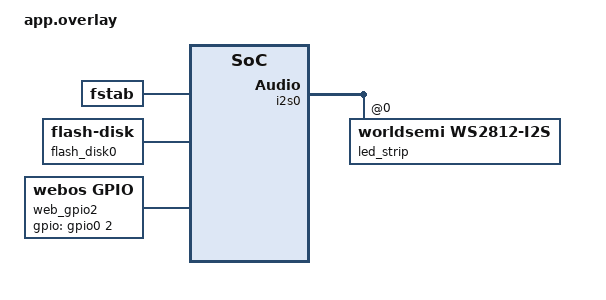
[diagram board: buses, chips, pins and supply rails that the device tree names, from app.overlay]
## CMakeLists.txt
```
#-------------------------------------------------------------------------------
# Zephyr Example Application
#
# Copyright (c) 2021 Nordic Semiconductor ASA
# SPDX-License-Identifier: Apache-2.0

cmake_minimum_required(VERSION 3.20.0)
set(WAMR_BUILD_LOAD_CUSTOM_SECTION 1)
find_package(Zephyr REQUIRED HINTS $ENV{ZEPHYR_BASE})

project(app)

target_include_directories(app PRIVATE src ../sdk/c)

target_sources(app PRIVATE
  src/main.c
  src/utils/json/json.c
  src/hal/wifi/wifi.c
  src/services/fs/fs.c
  src/services/app/app_context.c
  src/services/ota/ota.c
  src/services/http/http.c
  src/services/http/http_handlers.c
  src/services/http_client/http_client.c
  src/services/iwasm/iwasm.c
)

target_sources_ifdef(CONFIG_WEBOS_LOG_BUFFER app PRIVATE src/services/log_buffer/log_buffer.c)
target_sources_ifdef(CONFIG_WEBOS_SSH app PRIVATE src/services/ssh/ssh.c)

set(gen_dir ${ZEPHYR_BINARY_DIR}/include/generated)
generate_inc_file_for_target(
  app
  src/services/http_client/amazon_root_ca1.der
  ${gen_dir}/amazon_root_ca1.der.inc
)

zephyr_linker_sources(SECTIONS sections-rom.ld)
zephyr_linker_section(
  NAME http_resource_desc_webos_http_service
  KVMA RAM_REGION GROUP RODATA_REGION
)

# The code below locates the git index file for this repository and adds it as a dependency for
# the application VERSION file so that if the repo has a new commit added, even if no files in
# the build have changed, the application version file will be regenerated with the new git commit
find_package(Git QUIET)
if(GIT_FOUND)
  execute_process(
    COMMAND ${GIT_EXECUTABLE} rev-parse --absolute-git-dir
    WORKING_DIRECTORY .
    OUTPUT_VARIABLE application_git_dir
    OUTPUT_STRIP_TRAILING_WHITESPACE
    ERROR_STRIP_TRAILING_WHITESPACE
    ERROR_VARIABLE stderr
    RESULT_VARIABLE return_code
  )
  # If there is an error e.g. it is not a git repo, we just silently ignore it and continue
  # without a dependency, this will be the case with freestanding applications.
  if(NOT return_code)
    if(NOT "${stderr}" STREQUAL "")
      message(WARNING "Application build version git rev-parse warned: ${stderr}")
    endif()

    set_property(TARGET app_version_h PROPERTY APP_VERSION_DEPENDS ${application_git_dir}/index)
  endif()
endif()
```

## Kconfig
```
# Copyright (c) 2021 Nordic Semiconductor ASA
# SPDX-License-Identifier: Apache-2.0
#
# This file is the application Kconfig entry point. All application Kconfig
# options can be defined here or included via other application Kconfig files.
# You can browse these options using the west targets menuconfig (terminal) or
# guiconfig (GUI).

menu "Zephyr"
source "Kconfig.zephyr"
endmenu

menu "WebOS"

config WEBOS_WIFI_SSID
	string "Wi-Fi SSID"
	default ""

config WEBOS_WIFI_PSK
	string "Wi-Fi PSK"
	default ""

config WEBOS_IWASM_EXEC_STACK_SIZE
	int "WASM execution thread stack size"
	default 16384
	range 8192 32768
	help
	  Native stack reserved for running WAMR applications launched by a
	  management shell. This keeps execution off transport callback stacks.
	  Launch remains synchronous, so management-shell applications are
	  expected to terminate.

config WEBOS_IWASM_EXEC_PRIORITY
	int "WASM execution thread priority"
	default 5
	range -15 15

menu "WASM HTTP client"

config WEBOS_WASM_HTTP_MAX_URL_LEN
	int "Maximum WASM HTTP URL length"
	default 512
	range 64 2048

config WEBOS_WASM_HTTP_MAX_HEADERS_LEN
	int "Maximum WASM HTTP request headers length"
	default 1024
	range 0 4096

config WEBOS_WASM_HTTP_MAX_REQUEST_BODY
	int "Maximum WASM HTTP request body size"
	default 4096
	range 0 65536

config WEBOS_WASM_HTTP_MAX_RESPONSE_BODY
	int "Maximum WASM HTTP response body size"
	default 16384
	range 256 131072

config WEBOS_WASM_HTTP_MAX_TIMEOUT_MS
	int "Maximum WASM HTTP request timeout"
	default 30000
	range 1000 300000

endmenu

config WEBOS_LOG_BUFFER
	bool "Enable WebOS log buffer for wdb log command"
	select LOG_OUTPUT
	help
	  In-memory ring buffer that captures Zephyr log output
	  for retrieval via HTTP POST /log.  Adds a log backend
	  that mirrors every LOG_* call into a mutable buffer.

if WEBOS_LOG_BUFFER

config WEBOS_LOG_BUFFER_SIZE
	int "Ring buffer size in bytes"
	default 4096
	range 1024 65536

config WEBOS_LOG_BACKEND_BUF_SIZE
	int "Log backend output buffer size"
	default 256

config WEBOS_LOG_BACKEND_OUTPUT_DEFAULT
	int "Default log output format"
	default 0

endif

config WEBOS_SSH
	bool "Enable SSH shell server"
	default n
	select DNS_RESOLVER
	select SSH_SERVER
	select SHELL_BACKEND_SSH
	help
	  Enable the SSH shell server. Disabled by default because the SSH stack is
	  memory-heavy on the ESP32-S3 target.

config WEBOS_SSH_USERNAME
	string "SSH username"
	default "root"
	depends on WEBOS_SSH

config WEBOS_SSH_PASSWORD
	string "SSH password"
	default "1"
	depends on WEBOS_SSH

endmenu

module = APP
module-str = APP
source "subsys/logging/Kconfig.template.log_config"
```

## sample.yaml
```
# This file is provided so that the application can be compiled using Twister,
# the Zephyr testing tool. In this file, multiple combinations can be specified,
# so that you can easily test all of them locally or in CI.
sample:
  description: WebOS minimal Zephyr application
  name: webos
common:
  build_only: true
  integration_platforms:
    - esp32s3_devkitc/esp32s3/procpu
tests:
  app.default: {}
  app.debug:
    extra_overlay_confs:
      - debug.conf
```

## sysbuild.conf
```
SB_CONFIG_BOOTLOADER_MCUBOOT=y
SB_CONFIG_MCUBOOT_MODE_RAM_LOAD=y
SB_CONFIG_MCUBOOT_RAMLOAD_ALLOW_XIP=y
```

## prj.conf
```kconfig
CONFIG_PRINTK=y
CONFIG_LOG=y
CONFIG_LOG_MODE_IMMEDIATE=y
CONFIG_LOG_BACKEND_UART=y
CONFIG_LOG_BACKEND_FORMAT_TIMESTAMP=y
CONFIG_LOG_OUTPUT_FORMAT_TIME_TIMESTAMP=y
CONFIG_SERIAL=y
CONFIG_CONSOLE=y
CONFIG_UART_CONSOLE=y

# Reserve internal SRAM for USB and the WAMR execution thread; WAMR heap data uses PSRAM.
CONFIG_MAIN_STACK_SIZE=4096
CONFIG_HEAP_MEM_POOL_SIZE=65536
CONFIG_SYSTEM_WORKQUEUE_STACK_SIZE=2048
CONFIG_SHELL_STACK_SIZE=8192

# Virtual /dev filesystem for GPIO/LED device access
CONFIG_WEBOS_DEVFS=y
CONFIG_WEBOS_GPIO=y
CONFIG_LED_STRIP=y
CONFIG_WEBOS_RGBLED=y

# FatFS-backed WebOS volume on the storage flash partition.
CONFIG_DISK_ACCESS=y
CONFIG_DISK_DRIVERS=y
CONFIG_FILE_SYSTEM=y
CONFIG_FILE_SYSTEM_MAX_TYPES=3
CONFIG_FILE_SYSTEM_SHELL=y
CONFIG_FILE_SYSTEM_SHELL_MOUNT_COMMAND=y
CONFIG_FILE_SYSTEM_MKFS=y
CONFIG_FAT_FILESYSTEM_ELM=y
CONFIG_FS_FATFS_LFN=y
CONFIG_FS_FATFS_LFN_MODE_STACK=y
CONFIG_FS_FATFS_MOUNT_MKFS=y

# OTA firmware updates through POST /ota into the MCUboot secondary slot.
CONFIG_BOOTLOADER_MCUBOOT=y
CONFIG_FLASH=y
CONFIG_FLASH_MAP=y
CONFIG_IMG_MANAGER=y
CONFIG_MCUBOOT_IMG_MANAGER=y
CONFIG_STREAM_FLASH=y
CONFIG_STREAM_FLASH_ERASE=y
CONFIG_IMG_ERASE_PROGRESSIVELY=y
CONFIG_IMG_BLOCK_BUF_SIZE=4096
CONFIG_REBOOT=y

# PSRAM (ESP32-S3 N16R8: 8MB octal PSRAM)
CONFIG_ESP_SPIRAM=y
CONFIG_SPIRAM_MODE_OCT=y
CONFIG_SPIRAM_TYPE_ESPPSRAM64=y
CONFIG_ESP_SPIRAM_HEAP_SIZE=2097152

# Shell command execution for local UART shell and trusted POST /shell.
CONFIG_SHELL=y
CONFIG_SHELL_BACKEND_SERIAL=y
CONFIG_SHELL_BACKEND_SERIAL_LOG_LEVEL_NONE=y
CONFIG_SHELL_METAKEYS=y
CONFIG_SHELL_HISTORY=y
CONFIG_SETTINGS=y
CONFIG_SETTINGS_FILE=y
CONFIG_SETTINGS_FILE_PATH="/STORAGE:/settings.conf"
CONFIG_SHELL_BACKEND_DUMMY=y
CONFIG_SHELL_BACKEND_DUMMY_BUF_SIZE=1024
CONFIG_WEBOS_LOG_BUFFER=y

# Basic HTTP management server.
CONFIG_NETWORKING=y
CONFIG_NET_IPV4=y
CONFIG_NET_TCP=y
CONFIG_NET_UDP=y
CONFIG_NET_SOCKETS=y
CONFIG_ZVFS_OPEN_MAX=16
CONFIG_NET_MGMT=y
CONFIG_NET_MGMT_EVENT=y
CONFIG_NET_MGMT_EVENT_INFO=y
CONFIG_NET_MGMT_EVENT_QUEUE_SIZE=10
CONFIG_NET_MGMT_EVENT_STACK_SIZE=4096
CONFIG_NET_DHCPV4=y
CONFIG_NET_CONNECTION_MANAGER=y
CONFIG_WIFI=y
CONFIG_WIFI_NM=y
CONFIG_WIFI_USAGE_MODE_STA=y
CONFIG_NET_L2_WIFI_MGMT=y
CONFIG_NET_SHELL=y
CONFIG_NET_L2_WIFI_SHELL=y
CONFIG_NET_MGMT_EVENT_QUEUE_TIMEOUT=5000
CONFIG_NET_MGMT_EVENT_QUEUE_SIZE=16
CONFIG_HTTP_SERVER=y
# HTTP_SERVER_CAPTURE_HEADERS=y enables the server to capture custom headers.
CONFIG_HTTP_SERVER_MAX_CLIENTS=1
CONFIG_HTTP_SERVER_STACK_SIZE=8192
CONFIG_HTTP_SERVER_CLIENT_BUFFER_SIZE=4096
CONFIG_HTTP_SERVER_CAPTURE_HEADERS=y

# Outbound HTTP/HTTPS requests exposed to WASM applications.
CONFIG_HTTP_CLIENT=y
CONFIG_HTTP_CLIENT_SEND_BUF_SIZE=512
CONFIG_DNS_RESOLVER=y
CONFIG_NET_SOCKETS_SOCKOPT_TLS=y
CONFIG_NET_SOCKETS_TLS_MAX_CONTEXTS=1
CONFIG_TLS_CREDENTIALS=y
CONFIG_TLS_CREDENTIALS_BACKEND_VOLATILE=y
CONFIG_TLS_MAX_CREDENTIALS_NUMBER=2
CONFIG_MBEDTLS_SSL_PROTO_TLS1_2=y
CONFIG_MBEDTLS_SSL_SERVER_NAME_INDICATION=y
CONFIG_MBEDTLS_PSA_KEY_SLOT_COUNT=4
CONFIG_PSA_WANT_KEY_TYPE_RSA_PUBLIC_KEY=y
CONFIG_MBEDTLS_CIPHERSUITE_TLS_ECDHE_RSA_WITH_AES_128_GCM_SHA256=y
CONFIG_MBEDTLS_SSL_IN_CONTENT_LEN=4096
CONFIG_MBEDTLS_SSL_OUT_CONTENT_LEN=2048

CONFIG_NET_PKT_RX_COUNT=32
CONFIG_NET_PKT_TX_COUNT=16
CONFIG_NET_BUF_RX_COUNT=64
CONFIG_NET_BUF_TX_COUNT=64
CONFIG_NET_BUF_DATA_SIZE=256

# POSIX API for WAMR WASI sandboxed-system-primitives
CONFIG_POSIX_API=y

# WAMR / iwasm runtime for WASM payload execution
CONFIG_WAMR_MICRO_RUNTIME=y
CONFIG_WAMR_BUILD_TARGET="XTENSA"
CONFIG_WAMR_BUILD_INTERP=y
CONFIG_WAMR_BUILD_AOT=y
CONFIG_WAMR_BUILD_LIBC_BUILTIN=y
# CONFIG_WAMR_BUILD_LIBC_WASI=y
CONFIG_WAMR_BUILD_FAST_INTERP=n
# Use system allocator directly (no global pool)
CONFIG_WAMR_BUILD_GLOBAL_HEAP_POOL=n

CONFIG_WEBOS_WIFI_SSID=""
CONFIG_WEBOS_WIFI_PSK=""

# Development-only, unauthenticated ADB over the native ESP32-S3 USB port.
CONFIG_USB_DEVICE_STACK_NEXT=y
CONFIG_CDC_ACM_SERIAL_INITIALIZE_AT_BOOT=n
CONFIG_HWINFO=y
CONFIG_UDC_BUF_POOL_SIZE=2048
CONFIG_UDC_DWC2_DMA=n
CONFIG_UDC_DRIVER_LOG_LEVEL_WRN=y
CONFIG_WEBOS_ADB=y
CONFIG_WEBOS_ADB_USB=y
CONFIG_WEBOS_ADB_ALLOW_NO_AUTH=y
CONFIG_WEBOS_SHELL_EXEC=y
CONFIG_WEBOS_ADB_SHELL=y
CONFIG_WEBOS_ADB_LOGCAT=y
CONFIG_WEBOS_ADB_SYNC=y
CONFIG_WEBOS_ADB_REBOOT=y
```

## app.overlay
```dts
#include <zephyr/dt-bindings/gpio/gpio.h>
#include <zephyr/dt-bindings/led/led.h>

/ {
  fstab {
    compatible = "zephyr,fstab";

    storage_fatfs: storage_fatfs {
      compatible = "zephyr,fstab,fatfs";
      automount;
      disk-access;
      mount-point = "/STORAGE:";
    };
  };

  flash_disk0 {
    compatible = "zephyr,flash-disk";
    partition = <&storage_partition>;
    disk-name = "STORAGE";
    cache-size = <4096>;
  };

  web_gpio2: web_gpio2 {
    compatible = "webos,gpio";
    gpios = <&gpio0 2 GPIO_ACTIVE_HIGH>;
  };

  web_rgbled48: web_rgbled48 {
    compatible = "webos,led";
    led = <&led_strip>;
    webos-pin = <48>;
  };
};

&i2s0_default {
  group1 {
    pinmux = <I2S0_O_SD_GPIO48>;
  };
};

i2s_led: &i2s0 {
  status = "okay";

  dmas = <&dma 3>;
  dma-names = "tx";

  led_strip: ws2812@0 {
    compatible = "worldsemi,ws2812-i2s";
    reg = <0>;
    chain-length = <1>;
    color-mapping = <LED_COLOR_ID_GREEN LED_COLOR_ID_RED LED_COLOR_ID_BLUE>;
    reset-delay = <500>;
  };
};

&dma {
  status = "okay";
};
```

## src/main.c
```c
#include <errno.h>
#include <zephyr/dfu/mcuboot.h>
#include <zephyr/logging/log.h>

#include "hal/wifi/wifi.h"
#if defined(CONFIG_WEBOS_ADB)
#include <webos/adb.h>
#endif
#include "services/fs/fs.h"
#include "services/http/http.h"
#include "services/http_client/http_client.h"
#include "services/iwasm/iwasm.h"
#include "services/ota/ota.h"
#if defined(CONFIG_WEBOS_DEVFS)
#include "devfs.h"
#endif
#if defined(CONFIG_WEBOS_GPIO)
#include "webos_gpio.h"
#endif
#if defined(CONFIG_WEBOS_RGBLED)
#include "webos_rgbled.h"
#endif
#if defined(CONFIG_WEBOS_SSH)
#include "services/ssh/ssh.h"
#endif

LOG_MODULE_REGISTER(webos, LOG_LEVEL_INF);

int main(void) {
  struct webos_health_status health = {0};
  int ret;

  LOG_INF("WebOS starting on ESP32-S3");

#if defined(CONFIG_WEBOS_ADB)
  ret = webos_adb_init();
  if (ret != 0) {
    LOG_ERR("ADB initialization failed: %d", ret);
  }
#endif

  ota_init();
  health.filesystem = init_filesystem_layout();

#if defined(CONFIG_WEBOS_DEVFS)
  health.devfs = devfs_register();
#endif
#if defined(CONFIG_WEBOS_GPIO)
  health.gpio = health.devfs == 0 ? webos_gpio_register_devfs() : -ECANCELED;
#endif
#if defined(CONFIG_WEBOS_RGBLED)
  health.led = health.devfs == 0 ? webos_rgbled_register_devfs() : -ECANCELED;
#endif

  ret = webos_http_client_init();
  health.iwasm = ret == 0 ? iwasm_init() : ret;

  if (health.filesystem == 0 && health.devfs == 0 && health.gpio == 0 && health.led == 0 && health.iwasm == 0) {
    ret = mcuboot_swap_type();
    if (ret == BOOT_SWAP_TYPE_REVERT) {
      ret = boot_write_img_confirmed();
      if (ret != 0) {
        LOG_ERR("MCUboot image confirmation failed: %d", ret);
      }
    } else if (ret < 0) {
      LOG_WRN("Cannot read MCUboot swap state: %d", ret);
    }
  } else {
    LOG_ERR("Local service initialization failed; leaving MCUboot test image unconfirmed");
  }

  health.wifi = connect_wifi();
#if defined(CONFIG_WEBOS_SSH)
  ssh_service_start();
#endif

  webos_health_set(&health);
  ret = webos_http_init();

  if (health.filesystem == 0 && health.devfs == 0 && health.gpio == 0 && health.led == 0 && health.iwasm == 0 &&
      health.wifi == 0 && ret == 0) {
    LOG_INF("Startup: OK");
  } else {
    LOG_ERR("Startup: FAILED filesystem=%d devfs=%d gpio=%d led=%d iwasm=%d wifi=%d http=%d", health.filesystem,
            health.devfs, health.gpio, health.led, health.iwasm, health.wifi, ret);
  }

  return ret;
}
```
